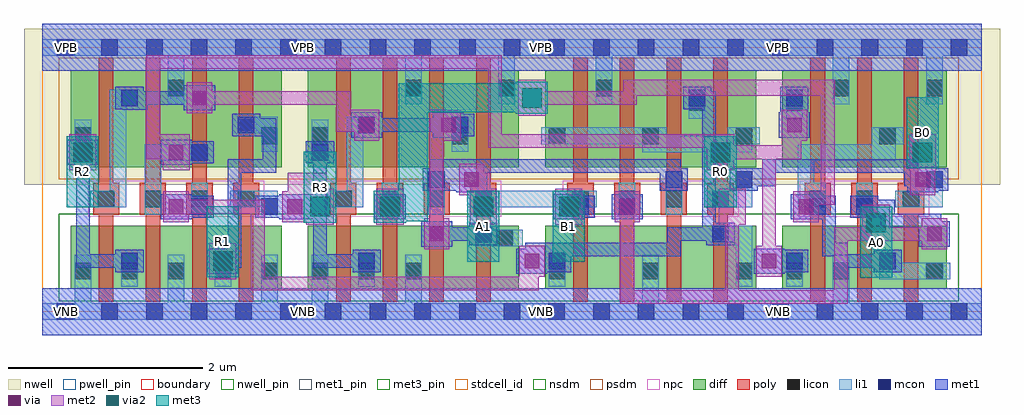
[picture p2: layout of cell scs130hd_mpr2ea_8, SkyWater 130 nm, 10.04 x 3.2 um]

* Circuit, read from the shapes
.subckt scs130hd_mpr2ea_8 A0 A1 B0 B1 R0 R1 R2 R3 VNB VPB vgnd vpwr
XM1 R2 n1 vgnd VNB sky130_fd_pr__nfet_01v8 w=0.65 l=0.15
XM2 vgnd R0 R2 VNB sky130_fd_pr__nfet_01v8 w=0.65 l=0.15
XM3 R1 n2 vgnd VNB sky130_fd_pr__nfet_01v8 w=0.65 l=0.15
XM4 vgnd R3 R1 VNB sky130_fd_pr__nfet_01v8 w=0.65 l=0.15
XM5 R3 n1 vgnd VNB sky130_fd_pr__nfet_01v8 w=0.65 l=0.15
XM6 vgnd n3 R3 VNB sky130_fd_pr__nfet_01v8 w=0.65 l=0.15
XM7 n4 A1 vgnd VNB sky130_fd_pr__nfet_01v8 w=0.65 l=0.15
XM8 n1 B1 n4 VNB sky130_fd_pr__nfet_01v8 w=0.65 l=0.15
XM9 n5 B1 n2 VNB sky130_fd_pr__nfet_01v8 w=0.65 l=0.15
XM10 vgnd A0 n5 VNB sky130_fd_pr__nfet_01v8 w=0.65 l=0.15
XM11 n6 A1 vgnd VNB sky130_fd_pr__nfet_01v8 w=0.65 l=0.15
XM12 n2 B0 n6 VNB sky130_fd_pr__nfet_01v8 w=0.65 l=0.15
XM13 vgnd n3 R0 VNB sky130_fd_pr__nfet_01v8 w=0.65 l=0.15
XM14 n7 A0 vgnd VNB sky130_fd_pr__nfet_01v8 w=0.65 l=0.15
XM15 n3 B0 n7 VNB sky130_fd_pr__nfet_01v8 w=0.65 l=0.15
XM16 n8 n1 R2 VPB sky130_fd_pr__pfet_01v8 w=1 l=0.15
XM17 vpwr R0 n8 VPB sky130_fd_pr__pfet_01v8 w=1 l=0.15
XM18 n9 n2 vpwr VPB sky130_fd_pr__pfet_01v8 w=1 l=0.15
XM19 R1 R3 n9 VPB sky130_fd_pr__pfet_01v8 w=1 l=0.15
XM20 n10 n1 R3 VPB sky130_fd_pr__pfet_01v8 w=1 l=0.15
XM21 vpwr n3 n10 VPB sky130_fd_pr__pfet_01v8 w=1 l=0.15
XM22 n1 A1 vpwr VPB sky130_fd_pr__pfet_01v8 w=1 l=0.15
XM23 vpwr B1 n1 VPB sky130_fd_pr__pfet_01v8 w=1 l=0.15
XM24 vpwr B1 n11 VPB sky130_fd_pr__pfet_01v8 w=1 l=0.15
XM25 n11 A0 vpwr VPB sky130_fd_pr__pfet_01v8 w=1 l=0.15
XM26 n2 A1 n11 VPB sky130_fd_pr__pfet_01v8 w=1 l=0.15
XM27 n11 B0 n2 VPB sky130_fd_pr__pfet_01v8 w=1 l=0.15
XM28 vpwr n3 R0 VPB sky130_fd_pr__pfet_01v8 w=1 l=0.15
XM29 n3 A0 vpwr VPB sky130_fd_pr__pfet_01v8 w=1 l=0.15
XM30 vpwr B0 n3 VPB sky130_fd_pr__pfet_01v8 w=1 l=0.15
.ends

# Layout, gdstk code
import gdstk
lib = gdstk.Library(unit=1e-6, precision=1e-09)
def R(c, l, rs):  # rectangles x0, y0, x1, y1
    for r in rs: c.add(gdstk.rectangle(r[:2], r[2:], *l))
nwell_pin = (64, 16)
nwell = (64, 20)
diff = (65, 20)
poly = (66, 20)
licon = (66, 44)
li1 = (67, 20)
mcon = (67, 44)
met1_pin = (68, 16)
met1 = (68, 20)
via = (68, 44)
met2 = (69, 20)
via2 = (69, 44)
met3_pin = (70, 16)
met3 = (70, 20)
stdcell_id = (81, 4)
nsdm = (93, 44)
psdm = (94, 20)
npc = (95, 20)
pwell_pin = (122, 16)
boundary = (235, 4)

scs130hd_mpr2ea_8 = lib.new_cell('scs130hd_mpr2ea_8')
R(scs130hd_mpr2ea_8, nwell_pin, [(0.165,2.635,0.335,2.805), (0.165,2.635,0.335,2.805), (2.605,2.635,2.775,2.805), (2.605,2.635,2.775,2.805), (5.045,2.635,5.215,2.805), (5.045,2.635,5.215,2.805), (7.485,2.635,7.655,2.805), (7.485,2.635,7.655,2.805)])
R(scs130hd_mpr2ea_8, nwell, [(-0.19,1.305,9.85,2.91), (-0.19,1.305,9.85,2.91)])
R(scs130hd_mpr2ea_8, diff, [(0.29,0.235,2.46,0.885), (0.29,0.235,2.46,0.885), (2.73,0.235,4.9,0.885), (2.73,0.235,4.9,0.885), (5.17,0.235,7.34,0.885), (5.17,0.235,7.34,0.885), (7.61,0.235,9.3,0.885), (7.61,0.235,9.3,0.885), (0.29,1.485,2.46,2.485), (0.29,1.485,2.46,2.485), (2.73,1.485,4.9,2.485), (2.73,1.485,4.9,2.485), (5.17,1.485,7.34,2.485), (5.17,1.485,7.34,2.485), (7.61,1.485,9.3,2.485), (7.61,1.485,9.3,2.485)])
R(scs130hd_mpr2ea_8, poly, [(0.58,0.105,0.73,0.995), (0.58,0.105,0.73,0.995), (1.06,0.105,1.21,0.995), (1.06,0.105,1.21,0.995), (1.54,0.105,1.69,0.995), (1.54,0.105,1.69,0.995), (2.02,0.105,2.17,0.995), (2.02,0.105,2.17,0.995), (3.02,0.105,3.17,0.995), (3.02,0.105,3.17,0.995), (3.5,0.105,3.65,0.995), (3.5,0.105,3.65,0.995), (3.98,0.105,4.13,0.995), (3.98,0.105,4.13,0.995), (4.46,0.105,4.61,0.995), (4.46,0.105,4.61,0.995), (5.46,0.105,5.61,0.995), (5.46,0.105,5.61,0.995), (5.94,0.105,6.09,0.995), (5.94,0.105,6.09,0.995), (6.42,0.105,6.57,0.995), (6.42,0.105,6.57,0.995), (6.9,0.105,7.05,0.995), (6.9,0.105,7.05,0.995), (7.9,0.105,8.05,0.995), (7.9,0.105,8.05,0.995), (8.38,0.105,8.53,0.995), (8.38,0.105,8.53,0.995), (8.86,0.105,9.01,0.995), (8.86,0.105,9.01,0.995), (0.52,0.995,0.79,1.325), (0.52,0.995,0.79,1.325), (1,0.995,1.27,1.325), (1,0.995,1.27,1.325), (1.48,0.995,1.75,1.325), (1.48,0.995,1.75,1.325), (1.96,0.995,2.23,1.325), (1.96,0.995,2.23,1.325), (2.96,0.995,3.23,1.325), (2.96,0.995,3.23,1.325), (3.44,0.995,3.71,1.325), (3.44,0.995,3.71,1.325), (3.92,0.995,4.19,1.325), (3.92,0.995,4.19,1.325), (4.4,0.995,4.67,1.325), (4.4,0.995,4.67,1.325), (5.4,0.995,5.67,1.325), (5.4,0.995,5.67,1.325), (5.88,0.995,6.15,1.325), (5.88,0.995,6.15,1.325), (6.36,0.995,6.63,1.325), (6.36,0.995,6.63,1.325), (6.84,0.995,7.11,1.325), (6.84,0.995,7.11,1.325), (7.84,0.995,8.11,1.325), (7.84,0.995,8.11,1.325), (8.32,0.995,8.59,1.325), (8.32,0.995,8.59,1.325), (8.8,0.995,9.07,1.325), (8.8,0.995,9.07,1.325), (0.58,1.325,0.73,2.615), (0.58,1.325,0.73,2.615), (1.06,1.325,1.21,2.615), (1.06,1.325,1.21,2.615), (1.54,1.325,1.69,2.615), (1.54,1.325,1.69,2.615), (2.02,1.325,2.17,2.615), (2.02,1.325,2.17,2.615), (3.02,1.325,3.17,2.615), (3.02,1.325,3.17,2.615), (3.5,1.325,3.65,2.615), (3.5,1.325,3.65,2.615), (3.98,1.325,4.13,2.615), (3.98,1.325,4.13,2.615), (4.46,1.325,4.61,2.615), (4.46,1.325,4.61,2.615), (5.46,1.325,5.61,2.615), (5.46,1.325,5.61,2.615), (5.94,1.325,6.09,2.615), (5.94,1.325,6.09,2.615), (6.42,1.325,6.57,2.615), (6.42,1.325,6.57,2.615), (6.9,1.325,7.05,2.615), (6.9,1.325,7.05,2.615), (7.9,1.325,8.05,2.615), (7.9,1.325,8.05,2.615), (8.38,1.325,8.53,2.615), (8.38,1.325,8.53,2.615), (8.86,1.325,9.01,2.615), (8.86,1.325,9.01,2.615)])
R(scs130hd_mpr2ea_8, licon, [(0.33,0.335,0.5,0.505), (0.33,0.335,0.5,0.505), (0.81,0.335,0.98,0.505), (0.81,0.335,0.98,0.505), (1.29,0.335,1.46,0.505), (1.29,0.335,1.46,0.505), (1.77,0.335,1.94,0.505), (1.77,0.335,1.94,0.505), (2.25,0.335,2.42,0.505), (2.25,0.335,2.42,0.505), (2.77,0.335,2.94,0.505), (2.77,0.335,2.94,0.505), (3.25,0.335,3.42,0.505), (3.25,0.335,3.42,0.505), (3.73,0.335,3.9,0.505), (3.73,0.335,3.9,0.505), (5.21,0.335,5.38,0.505), (5.21,0.335,5.38,0.505), (6.17,0.335,6.34,0.505), (6.17,0.335,6.34,0.505), (7.13,0.335,7.3,0.505), (7.13,0.335,7.3,0.505), (7.65,0.335,7.82,0.505), (7.65,0.335,7.82,0.505), (8.13,0.335,8.3,0.505), (8.13,0.335,8.3,0.505), (9.09,0.335,9.26,0.505), (9.09,0.335,9.26,0.505), (4.67,0.675,4.84,0.845), (4.67,0.675,4.84,0.845), (0.57,1.075,0.74,1.245), (0.57,1.075,0.74,1.245), (1.05,1.075,1.22,1.245), (1.05,1.075,1.22,1.245), (1.53,1.075,1.7,1.245), (1.53,1.075,1.7,1.245), (2.01,1.075,2.18,1.245), (2.01,1.075,2.18,1.245), (3.01,1.075,3.18,1.245), (3.01,1.075,3.18,1.245), (3.49,1.075,3.66,1.245), (3.49,1.075,3.66,1.245), (3.97,1.075,4.14,1.245), (3.97,1.075,4.14,1.245), (4.45,1.075,4.62,1.245), (4.45,1.075,4.62,1.245), (5.45,1.075,5.62,1.245), (5.45,1.075,5.62,1.245), (5.93,1.075,6.1,1.245), (5.93,1.075,6.1,1.245), (6.41,1.075,6.58,1.245), (6.41,1.075,6.58,1.245), (6.89,1.075,7.06,1.245), (6.89,1.075,7.06,1.245), (7.89,1.075,8.06,1.245), (7.89,1.075,8.06,1.245), (8.37,1.075,8.54,1.245), (8.37,1.075,8.54,1.245), (8.85,1.075,9.02,1.245), (8.85,1.075,9.02,1.245), (0.33,1.725,0.5,1.895), (0.33,1.725,0.5,1.895), (2.25,1.725,2.42,1.895), (2.25,1.725,2.42,1.895), (2.77,1.725,2.94,1.895), (2.77,1.725,2.94,1.895), (4.21,1.725,4.38,1.895), (4.21,1.725,4.38,1.895), (5.21,1.725,5.38,1.895), (5.21,1.725,5.38,1.895), (6.17,1.725,6.34,1.895), (6.17,1.725,6.34,1.895), (7.13,1.725,7.3,1.895), (7.13,1.725,7.3,1.895), (8.61,1.725,8.78,1.895), (8.61,1.725,8.78,1.895), (6.65,2.065,6.82,2.235), (6.65,2.065,6.82,2.235), (7.65,2.065,7.82,2.235), (7.65,2.065,7.82,2.235), (1.29,2.215,1.46,2.385), (1.29,2.215,1.46,2.385), (3.73,2.215,3.9,2.385), (3.73,2.215,3.9,2.385), (4.69,2.215,4.86,2.385), (4.69,2.215,4.86,2.385), (5.69,2.215,5.86,2.385), (5.69,2.215,5.86,2.385), (8.13,2.215,8.3,2.385), (8.13,2.215,8.3,2.385), (9.09,2.215,9.26,2.385), (9.09,2.215,9.26,2.385)])
R(scs130hd_mpr2ea_8, li1, [(0,-0.085,9.66,0.085), (0,-0.085,9.66,0.085), (0.33,0.085,0.5,0.585), (0.33,0.085,0.5,0.585), (1.29,0.085,1.46,0.585), (1.29,0.085,1.46,0.585), (2.25,0.085,2.42,0.585), (2.25,0.085,2.42,0.585), (2.77,0.085,2.94,0.585), (2.77,0.085,2.94,0.585), (3.73,0.085,3.9,0.585), (3.73,0.085,3.9,0.585), (6.17,0.085,6.34,0.585), (6.17,0.085,6.34,0.585), (8.13,0.085,8.3,0.585), (8.13,0.085,8.3,0.585), (0.81,0.255,0.98,0.605), (0.81,0.255,0.98,0.605), (1.77,0.255,1.94,0.605), (1.77,0.255,1.94,0.605), (3.25,0.255,3.42,0.605), (3.25,0.255,3.42,0.605), (5.21,0.255,5.38,0.605), (5.21,0.255,5.38,0.605), (7.13,0.255,7.3,0.715), (7.13,0.255,7.3,0.715), (7.65,0.255,7.82,0.605), (7.65,0.255,7.82,0.605), (8.61,0.335,9.34,0.505), (8.61,0.335,9.34,0.505), (8.61,0.505,8.78,0.605), (8.61,0.505,8.78,0.605), (4.45,0.675,4.94,0.845), (4.45,0.675,4.94,0.845), (6.89,0.715,7.3,0.885), (6.89,0.715,7.3,0.885), (4.45,0.845,4.62,0.885), (4.45,0.845,4.62,0.885), (1.05,0.995,1.22,1.555), (1.05,0.995,1.22,1.555), (1.53,0.995,1.7,1.325), (1.53,0.995,1.7,1.325), (2.25,0.995,2.42,1.075), (2.25,0.995,2.42,1.075), (3.49,0.995,3.66,1.325), (3.49,0.995,3.66,1.325), (3.97,0.995,4.14,1.445), (3.97,0.995,4.14,1.445), (5.45,0.995,5.62,1.075), (5.45,0.995,5.62,1.075), (5.93,0.995,6.1,1.325), (5.93,0.995,6.1,1.325), (6.41,0.995,6.58,1.445), (6.41,0.995,6.58,1.445), (7.89,0.995,8.06,1.075), (7.89,0.995,8.06,1.075), (8.37,0.995,8.54,1.325), (8.37,0.995,8.54,1.325), (0.49,1.075,0.86,1.245), (0.49,1.075,0.86,1.245), (1.93,1.075,2.42,1.245), (1.93,1.075,2.42,1.245), (2.93,1.075,3.3,1.245), (2.93,1.075,3.3,1.245), (4.37,1.075,5.7,1.245), (4.37,1.075,5.7,1.245), (6.81,1.075,7.3,1.245), (6.81,1.075,7.3,1.245), (7.77,1.075,8.06,1.325), (7.77,1.075,8.06,1.325), (8.77,1.075,9.26,1.245), (8.77,1.075,9.26,1.245), (0.69,1.245,0.86,2.115), (0.69,1.245,0.86,2.115), (3.13,1.245,3.3,1.835), (3.13,1.245,3.3,1.835), (7.13,1.245,7.3,1.445), (7.13,1.245,7.3,1.445), (9.09,1.245,9.26,1.445), (9.09,1.245,9.26,1.445), (7.77,1.325,7.94,1.555), (7.77,1.325,7.94,1.555), (0.33,1.555,0.5,1.975), (0.33,1.555,0.5,1.975), (1.05,1.555,1.7,1.725), (1.05,1.555,1.7,1.725), (2.77,1.555,2.94,1.975), (2.77,1.555,2.94,1.975), (7.77,1.555,8.78,1.725), (7.77,1.555,8.78,1.725), (6.17,1.64,7.3,1.725), (6.17,1.64,7.3,1.725), (2.25,1.645,2.42,1.835), (2.25,1.645,2.42,1.835), (4.21,1.645,4.38,2.005), (4.21,1.645,4.38,2.005), (5.13,1.725,7.38,1.81), (5.13,1.725,7.38,1.81), (8.53,1.725,8.86,1.895), (8.53,1.725,8.86,1.895), (5.13,1.81,6.42,1.895), (5.13,1.81,6.42,1.895), (7.05,1.81,7.38,1.895), (7.05,1.81,7.38,1.895), (2.01,1.835,2.42,2.005), (2.01,1.835,2.42,2.005), (3.13,1.835,3.42,2.005), (3.13,1.835,3.42,2.005), (6.65,1.985,6.82,2.315), (6.65,1.985,6.82,2.315), (7.65,1.985,7.82,2.315), (7.65,1.985,7.82,2.315), (0.69,2.115,0.98,2.285), (0.69,2.115,0.98,2.285), (1.29,2.135,1.46,2.635), (1.29,2.135,1.46,2.635), (3.73,2.135,3.9,2.635), (3.73,2.135,3.9,2.635), (4.69,2.135,4.86,2.635), (4.69,2.135,4.86,2.635), (5.69,2.135,5.86,2.635), (5.69,2.135,5.86,2.635), (8.13,2.135,8.3,2.635), (8.13,2.135,8.3,2.635), (9.09,2.135,9.26,2.635), (9.09,2.135,9.26,2.635), (0,2.635,9.66,2.805), (0,2.635,9.66,2.805)])
R(scs130hd_mpr2ea_8, mcon, [(0.145,-0.085,0.315,0.085), (0.145,-0.085,0.315,0.085), (0.605,-0.085,0.775,0.085), (0.605,-0.085,0.775,0.085), (1.065,-0.085,1.235,0.085), (1.065,-0.085,1.235,0.085), (1.525,-0.085,1.695,0.085), (1.525,-0.085,1.695,0.085), (1.985,-0.085,2.155,0.085), (1.985,-0.085,2.155,0.085), (2.445,-0.085,2.615,0.085), (2.445,-0.085,2.615,0.085), (2.905,-0.085,3.075,0.085), (2.905,-0.085,3.075,0.085), (3.365,-0.085,3.535,0.085), (3.365,-0.085,3.535,0.085), (3.825,-0.085,3.995,0.085), (3.825,-0.085,3.995,0.085), (4.285,-0.085,4.455,0.085), (4.285,-0.085,4.455,0.085), (4.745,-0.085,4.915,0.085), (4.745,-0.085,4.915,0.085), (5.205,-0.085,5.375,0.085), (5.205,-0.085,5.375,0.085), (5.665,-0.085,5.835,0.085), (5.665,-0.085,5.835,0.085), (6.125,-0.085,6.295,0.085), (6.125,-0.085,6.295,0.085), (6.585,-0.085,6.755,0.085), (6.585,-0.085,6.755,0.085), (7.045,-0.085,7.215,0.085), (7.045,-0.085,7.215,0.085), (7.505,-0.085,7.675,0.085), (7.505,-0.085,7.675,0.085), (7.965,-0.085,8.135,0.085), (7.965,-0.085,8.135,0.085), (8.425,-0.085,8.595,0.085), (8.425,-0.085,8.595,0.085), (8.885,-0.085,9.055,0.085), (8.885,-0.085,9.055,0.085), (9.345,-0.085,9.515,0.085), (9.345,-0.085,9.515,0.085), (0.81,0.435,0.98,0.605), (0.81,0.435,0.98,0.605), (1.77,0.435,1.94,0.605), (1.77,0.435,1.94,0.605), (3.25,0.435,3.42,0.605), (3.25,0.435,3.42,0.605), (5.21,0.435,5.38,0.605), (5.21,0.435,5.38,0.605), (7.65,0.435,7.82,0.605), (7.65,0.435,7.82,0.605), (8.61,0.435,8.78,0.605), (8.61,0.435,8.78,0.605), (4.45,0.715,4.62,0.885), (4.45,0.715,4.62,0.885), (6.89,0.715,7.06,0.885), (6.89,0.715,7.06,0.885), (1.53,0.995,1.7,1.165), (1.53,0.995,1.7,1.165), (2.25,0.995,2.42,1.165), (2.25,0.995,2.42,1.165), (3.49,0.995,3.66,1.165), (3.49,0.995,3.66,1.165), (5.45,0.995,5.62,1.165), (5.45,0.995,5.62,1.165), (5.93,0.995,6.1,1.165), (5.93,0.995,6.1,1.165), (7.89,0.995,8.06,1.165), (7.89,0.995,8.06,1.165), (8.37,0.995,8.54,1.165), (8.37,0.995,8.54,1.165), (3.97,1.275,4.14,1.445), (3.97,1.275,4.14,1.445), (6.41,1.275,6.58,1.445), (6.41,1.275,6.58,1.445), (7.13,1.275,7.3,1.445), (7.13,1.275,7.3,1.445), (9.09,1.275,9.26,1.445), (9.09,1.275,9.26,1.445), (0.33,1.555,0.5,1.725), (0.33,1.555,0.5,1.725), (1.53,1.555,1.7,1.725), (1.53,1.555,1.7,1.725), (2.77,1.555,2.94,1.725), (2.77,1.555,2.94,1.725), (2.01,1.835,2.18,2.005), (2.01,1.835,2.18,2.005), (3.25,1.835,3.42,2.005), (3.25,1.835,3.42,2.005), (4.21,1.835,4.38,2.005), (4.21,1.835,4.38,2.005), (0.81,2.115,0.98,2.285), (0.81,2.115,0.98,2.285), (6.65,2.115,6.82,2.285), (6.65,2.115,6.82,2.285), (7.65,2.115,7.82,2.285), (7.65,2.115,7.82,2.285), (0.145,2.635,0.315,2.805), (0.145,2.635,0.315,2.805), (0.605,2.635,0.775,2.805), (0.605,2.635,0.775,2.805), (1.065,2.635,1.235,2.805), (1.065,2.635,1.235,2.805), (1.525,2.635,1.695,2.805), (1.525,2.635,1.695,2.805), (1.985,2.635,2.155,2.805), (1.985,2.635,2.155,2.805), (2.445,2.635,2.615,2.805), (2.445,2.635,2.615,2.805), (2.905,2.635,3.075,2.805), (2.905,2.635,3.075,2.805), (3.365,2.635,3.535,2.805), (3.365,2.635,3.535,2.805), (3.825,2.635,3.995,2.805), (3.825,2.635,3.995,2.805), (4.285,2.635,4.455,2.805), (4.285,2.635,4.455,2.805), (4.745,2.635,4.915,2.805), (4.745,2.635,4.915,2.805), (5.205,2.635,5.375,2.805), (5.205,2.635,5.375,2.805), (5.665,2.635,5.835,2.805), (5.665,2.635,5.835,2.805), (6.125,2.635,6.295,2.805), (6.125,2.635,6.295,2.805), (6.585,2.635,6.755,2.805), (6.585,2.635,6.755,2.805), (7.045,2.635,7.215,2.805), (7.045,2.635,7.215,2.805), (7.505,2.635,7.675,2.805), (7.505,2.635,7.675,2.805), (7.965,2.635,8.135,2.805), (7.965,2.635,8.135,2.805), (8.425,2.635,8.595,2.805), (8.425,2.635,8.595,2.805), (8.885,2.635,9.055,2.805), (8.885,2.635,9.055,2.805), (9.345,2.635,9.515,2.805), (9.345,2.635,9.515,2.805)])
R(scs130hd_mpr2ea_8, met1_pin, [(0.155,-0.085,0.325,0.085), (0.155,-0.085,0.325,0.085), (0.155,2.635,0.325,2.805), (0.155,2.635,0.325,2.805)])
R(scs130hd_mpr2ea_8, met1, [(0,-0.24,9.66,0.24), (0,-0.24,9.66,0.24), (1.695,0.39,2.015,0.45), (1.695,0.39,2.015,0.45), (4.875,0.39,5.195,0.405), (4.875,0.39,5.195,0.405), (7.315,0.39,7.635,0.405), (7.315,0.39,7.635,0.405), (0.75,0.405,1.04,0.45), (0.75,0.405,1.04,0.45), (3.19,0.405,3.48,0.45), (3.19,0.405,3.48,0.45), (4.875,0.405,5.44,0.57), (4.875,0.405,5.44,0.57), (7.315,0.405,7.88,0.635), (7.315,0.405,7.88,0.635), (8.55,0.405,8.84,0.45), (8.55,0.405,8.84,0.45), (0.345,0.45,1.04,0.59), (0.345,0.45,1.04,0.59), (1.695,0.45,2.045,0.65), (1.695,0.45,2.045,0.65), (2.785,0.45,3.48,0.59), (2.785,0.45,3.48,0.59), (8.145,0.45,8.84,0.57), (8.145,0.45,8.84,0.57), (4.875,0.57,6.565,0.65), (4.875,0.57,6.565,0.65), (8.02,0.57,8.84,0.59), (8.02,0.57,8.84,0.59), (0.345,0.59,0.485,1.51), (0.345,0.59,0.485,1.51), (0.75,0.59,1.04,0.635), (0.75,0.59,1.04,0.635), (2.785,0.59,2.925,0.95), (2.785,0.59,2.925,0.95), (3.19,0.59,3.48,0.635), (3.19,0.59,3.48,0.635), (8.02,0.59,8.285,0.71), (8.02,0.59,8.285,0.71), (8.55,0.59,8.84,0.635), (8.55,0.59,8.84,0.635), (7.315,0.635,7.635,0.65), (7.315,0.635,7.635,0.65), (1.905,0.65,2.045,1.43), (1.905,0.65,2.045,1.43), (4.965,0.65,6.565,0.71), (4.965,0.65,6.565,0.71), (3.895,0.67,4.215,0.73), (3.895,0.67,4.215,0.73), (9.015,0.67,9.335,0.87), (9.015,0.67,9.335,0.87), (4.39,0.685,4.68,0.73), (4.39,0.685,4.68,0.73), (6.83,0.685,7.12,0.73), (6.83,0.685,7.12,0.73), (6.425,0.71,6.565,0.73), (6.425,0.71,6.565,0.73), (8.02,0.71,8.16,0.95), (8.02,0.71,8.16,0.95), (3.895,0.73,4.68,0.87), (3.895,0.73,4.68,0.87), (6.425,0.73,7.12,0.87), (6.425,0.73,7.12,0.87), (3.895,0.87,4.215,0.93), (3.895,0.87,4.215,0.93), (4.39,0.87,4.68,0.915), (4.39,0.87,4.68,0.915), (6.785,0.87,7.12,0.915), (6.785,0.87,7.12,0.915), (8.625,0.87,9.335,0.93), (8.625,0.87,9.335,0.93), (6.785,0.915,6.925,2.085), (6.785,0.915,6.925,2.085), (8.625,0.93,9.245,0.965), (8.625,0.93,9.245,0.965), (1.215,0.95,1.535,0.965), (1.215,0.95,1.535,0.965), (2.435,0.95,2.925,0.965), (2.435,0.95,2.925,0.965), (3.415,0.95,3.735,1.21), (3.415,0.95,3.735,1.21), (5.255,0.95,5.575,0.965), (5.255,0.95,5.575,0.965), (5.855,0.95,6.175,1.21), (5.855,0.95,6.175,1.21), (7.695,0.95,8.16,1.195), (7.695,0.95,8.16,1.195), (1.215,0.965,1.76,1.195), (1.215,0.965,1.76,1.195), (2.19,0.965,2.925,1.195), (2.19,0.965,2.925,1.195), (5.255,0.965,5.68,1.195), (5.255,0.965,5.68,1.195), (8.31,0.965,9.245,1.01), (8.31,0.965,9.245,1.01), (8.31,1.01,8.765,1.15), (8.31,1.01,8.765,1.15), (8.31,1.15,8.6,1.195), (8.31,1.15,8.6,1.195), (1.215,1.195,1.535,1.21), (1.215,1.195,1.535,1.21), (2.435,1.195,2.925,1.21), (2.435,1.195,2.925,1.21), (5.255,1.195,5.575,1.21), (5.255,1.195,5.575,1.21), (7.695,1.195,8.015,1.21), (7.695,1.195,8.015,1.21), (2.785,1.21,2.925,1.525), (2.785,1.21,2.925,1.525), (4.255,1.23,4.575,1.245), (4.255,1.23,4.575,1.245), (8.895,1.23,9.215,1.245), (8.895,1.23,9.215,1.245), (3.91,1.245,4.575,1.43), (3.91,1.245,4.575,1.43), (6.35,1.245,6.64,1.43), (6.35,1.245,6.64,1.43), (7.07,1.245,7.36,1.29), (7.07,1.245,7.36,1.29), (8.895,1.245,9.32,1.29), (8.895,1.245,9.32,1.29), (7.07,1.29,7.545,1.43), (7.07,1.29,7.545,1.43), (8.865,1.29,9.32,1.43), (8.865,1.29,9.32,1.43), (1.905,1.43,2.405,1.57), (1.905,1.43,2.405,1.57), (3.91,1.43,6.64,1.475), (3.91,1.43,6.64,1.475), (7.07,1.43,9.32,1.475), (7.07,1.43,9.32,1.475), (3.985,1.475,6.565,1.57), (3.985,1.475,6.565,1.57), (7.405,1.475,9.215,1.49), (7.405,1.475,9.215,1.49), (7.405,1.49,9.005,1.57), (7.405,1.49,9.005,1.57), (0.255,1.51,0.575,1.77), (0.255,1.51,0.575,1.77), (1.215,1.51,1.535,1.525), (1.215,1.51,1.535,1.525), (1.215,1.525,1.76,1.755), (1.215,1.525,1.76,1.755), (2.71,1.525,3,1.755), (2.71,1.525,3,1.755), (2.265,1.57,2.405,1.805), (2.265,1.57,2.405,1.805), (1.215,1.755,1.535,1.77), (1.215,1.755,1.535,1.77), (3.175,1.79,3.495,1.85), (3.175,1.79,3.495,1.85), (4.015,1.79,4.335,1.805), (4.015,1.79,4.335,1.805), (7.575,1.79,7.895,2.05), (7.575,1.79,7.895,2.05), (1.95,1.805,2.405,1.99), (1.95,1.805,2.405,1.99), (4.015,1.805,4.44,1.85), (4.015,1.805,4.44,1.85), (3.175,1.85,4.44,1.99), (3.175,1.85,4.44,1.99), (1.95,1.99,2.24,2.035), (1.95,1.99,2.24,2.035), (3.175,1.99,3.495,2.05), (3.175,1.99,3.495,2.05), (4.015,1.99,4.44,2.035), (4.015,1.99,4.44,2.035), (4.015,2.035,4.335,2.05), (4.015,2.035,4.335,2.05), (7.59,2.05,7.88,2.315), (7.59,2.05,7.88,2.315), (1.455,2.07,1.775,2.13), (1.455,2.07,1.775,2.13), (0.825,2.08,1.085,2.085), (0.825,2.08,1.085,2.085), (0.75,2.085,1.085,2.13), (0.75,2.085,1.085,2.13), (6.59,2.085,6.925,2.27), (6.59,2.085,6.925,2.27), (0.75,2.13,1.775,2.27), (0.75,2.13,1.775,2.27), (0.75,2.27,1.04,2.315), (0.75,2.27,1.04,2.315), (1.455,2.27,1.775,2.33), (1.455,2.27,1.775,2.33), (6.59,2.27,6.88,2.315), (6.59,2.27,6.88,2.315), (0,2.48,9.66,2.96), (0,2.48,9.66,2.96)])
R(scs130hd_mpr2ea_8, via, [(1.78,0.445,1.93,0.595), (1.78,0.445,1.93,0.595), (4.96,0.445,5.11,0.595), (4.96,0.445,5.11,0.595), (7.4,0.445,7.55,0.595), (7.4,0.445,7.55,0.595), (3.98,0.725,4.13,0.875), (3.98,0.725,4.13,0.875), (9.1,0.725,9.25,0.875), (9.1,0.725,9.25,0.875), (1.3,1.005,1.45,1.155), (1.3,1.005,1.45,1.155), (2.52,1.005,2.67,1.155), (2.52,1.005,2.67,1.155), (3.5,1.005,3.65,1.155), (3.5,1.005,3.65,1.155), (5.34,1.005,5.49,1.155), (5.34,1.005,5.49,1.155), (5.94,1.005,6.09,1.155), (5.94,1.005,6.09,1.155), (7.78,1.005,7.93,1.155), (7.78,1.005,7.93,1.155), (4.34,1.285,4.49,1.435), (4.34,1.285,4.49,1.435), (8.98,1.285,9.13,1.435), (8.98,1.285,9.13,1.435), (0.34,1.565,0.49,1.715), (0.34,1.565,0.49,1.715), (1.3,1.565,1.45,1.715), (1.3,1.565,1.45,1.715), (3.26,1.845,3.41,1.995), (3.26,1.845,3.41,1.995), (4.1,1.845,4.25,1.995), (4.1,1.845,4.25,1.995), (7.66,1.845,7.81,1.995), (7.66,1.845,7.81,1.995), (1.54,2.125,1.69,2.275), (1.54,2.125,1.69,2.275)])
R(scs130hd_mpr2ea_8, met2, [(5.945,0.08,8.285,0.22), (5.945,0.08,8.285,0.22), (2.145,0.22,5.105,0.36), (2.145,0.22,5.105,0.36), (5.945,0.22,6.085,0.92), (5.945,0.22,6.085,0.92), (7.025,0.22,7.165,0.895), (7.025,0.22,7.165,0.895), (8.145,0.22,8.285,0.73), (8.145,0.22,8.285,0.73), (1.715,0.335,1.995,0.705), (1.715,0.335,1.995,0.705), (2.145,0.36,2.285,1.01), (2.145,0.36,2.285,1.01), (4.905,0.36,5.165,0.68), (4.905,0.36,5.165,0.68), (7.345,0.36,7.605,0.68), (7.345,0.36,7.605,0.68), (3.925,0.64,4.185,0.96), (3.925,0.64,4.185,0.96), (9.045,0.64,9.305,0.73), (9.045,0.64,9.305,0.73), (7.405,0.68,7.545,1.57), (7.405,0.68,7.545,1.57), (8.145,0.73,9.305,0.87), (8.145,0.73,9.305,0.87), (8.435,0.87,8.715,1.1), (8.435,0.87,8.715,1.1), (9.045,0.87,9.305,0.96), (9.045,0.87,9.305,0.96), (2.715,0.895,2.995,0.92), (2.715,0.895,2.995,0.92), (3.435,0.895,3.715,1.265), (3.435,0.895,3.715,1.265), (4.395,0.895,4.675,1.2), (4.395,0.895,4.675,1.2), (5.275,0.895,5.555,1.265), (5.275,0.895,5.555,1.265), (6.955,0.895,7.235,1.265), (6.955,0.895,7.235,1.265), (1.245,0.92,1.505,1.01), (1.245,0.92,1.505,1.01), (2.465,0.92,2.995,1.24), (2.465,0.92,2.995,1.24), (5.885,0.92,6.145,1.24), (5.885,0.92,6.145,1.24), (7.725,0.92,7.985,1.1), (7.725,0.92,7.985,1.1), (3.985,0.96,4.125,1.76), (3.985,0.96,4.125,1.76), (1.245,1.01,2.285,1.15), (1.245,1.01,2.285,1.15), (7.725,1.1,8.15,1.24), (7.725,1.1,8.15,1.24), (1.245,1.15,1.505,1.24), (1.245,1.15,1.505,1.24), (4.285,1.2,4.675,1.265), (4.285,1.2,4.675,1.265), (8.925,1.2,9.185,1.455), (8.925,1.2,9.185,1.455), (2.525,1.24,2.995,1.265), (2.525,1.24,2.995,1.265), (8.005,1.24,8.15,2.22), (8.005,1.24,8.15,2.22), (2.525,1.265,2.925,1.43), (2.525,1.265,2.925,1.43), (4.285,1.265,4.605,1.43), (4.285,1.265,4.605,1.43), (4.285,1.43,4.545,1.52), (4.285,1.43,4.545,1.52), (0.275,1.455,0.555,1.825), (0.275,1.455,0.555,1.825), (1.235,1.455,1.515,1.57), (1.235,1.455,1.515,1.57), (6.835,1.455,7.115,1.57), (6.835,1.455,7.115,1.57), (8.915,1.455,9.195,1.825), (8.915,1.455,9.195,1.825), (1.065,1.57,1.515,1.825), (1.065,1.57,1.515,1.825), (6.835,1.57,7.805,1.685), (6.835,1.57,7.805,1.685), (4.585,1.685,7.805,1.71), (4.585,1.685,7.805,1.71), (4.585,1.71,7.115,1.825), (4.585,1.71,7.115,1.825), (7.605,1.71,7.805,1.76), (7.605,1.71,7.805,1.76), (3.205,1.76,3.465,1.85), (3.205,1.76,3.465,1.85), (3.985,1.76,4.305,2.08), (3.985,1.76,4.305,2.08), (7.605,1.76,7.865,2.08), (7.605,1.76,7.865,2.08), (1.065,1.825,1.205,2.5), (1.065,1.825,1.205,2.5), (4.585,1.825,4.725,2.5), (4.585,1.825,4.725,2.5), (3.025,1.85,3.465,2.08), (3.025,1.85,3.465,2.08), (4.895,2.015,5.175,2.13), (4.895,2.015,5.175,2.13), (1.485,2.04,1.745,2.13), (1.485,2.04,1.745,2.13), (3.025,2.08,3.165,2.13), (3.025,2.08,3.165,2.13), (1.485,2.13,3.165,2.27), (1.485,2.13,3.165,2.27), (4.895,2.13,6.115,2.22), (4.895,2.13,6.115,2.22), (4.895,2.22,8.15,2.27), (4.895,2.22,8.15,2.27), (1.485,2.27,1.745,2.36), (1.485,2.27,1.745,2.36), (4.895,2.27,5.175,2.385), (4.895,2.27,5.175,2.385), (5.975,2.27,8.15,2.385), (5.975,2.27,8.15,2.385), (1.065,2.5,4.725,2.64), (1.065,2.5,4.725,2.64)])
R(scs130hd_mpr2ea_8, via2, [(1.755,0.42,1.955,0.62), (1.755,0.42,1.955,0.62), (8.475,0.815,8.675,1.015), (8.475,0.815,8.675,1.015), (2.755,0.98,2.955,1.18), (2.755,0.98,2.955,1.18), (3.475,0.98,3.675,1.18), (3.475,0.98,3.675,1.18), (4.435,0.98,4.635,1.18), (4.435,0.98,4.635,1.18), (5.315,0.98,5.515,1.18), (5.315,0.98,5.515,1.18), (0.315,1.54,0.515,1.74), (0.315,1.54,0.515,1.74), (6.875,1.54,7.075,1.74), (6.875,1.54,7.075,1.74), (8.955,1.54,9.155,1.74), (8.955,1.54,9.155,1.74), (4.935,2.1,5.135,2.3), (4.935,2.1,5.135,2.3)])
R(scs130hd_mpr2ea_8, met3_pin, [(8.41,0.35,8.74,1.08), (8.41,0.35,8.74,1.08), (1.69,0.355,2.02,1.085), (1.69,0.355,2.02,1.085), (4.37,0.515,4.7,1.245), (4.37,0.515,4.7,1.245), (5.25,0.515,5.58,1.245), (5.25,0.515,5.58,1.245), (2.69,0.915,3.02,1.645), (2.69,0.915,3.02,1.645), (0.25,1.075,0.58,1.805), (0.25,1.075,0.58,1.805), (6.81,1.075,7.14,1.805), (6.81,1.075,7.14,1.805), (8.89,1.475,9.22,2.205), (8.89,1.475,9.22,2.205)])
R(scs130hd_mpr2ea_8, met3, [(8.41,0.35,8.74,1.08), (8.41,0.35,8.74,1.08), (1.69,0.355,2.02,1.085), (1.69,0.355,2.02,1.085), (4.37,0.515,4.7,1.245), (4.37,0.515,4.7,1.245), (5.25,0.515,5.58,1.245), (5.25,0.515,5.58,1.245), (2.69,0.915,3.02,1.645), (2.69,0.915,3.02,1.645), (3.41,0.915,3.74,0.93), (3.41,0.915,3.74,0.93), (3.41,0.93,3.965,1.245), (3.41,0.93,3.965,1.245), (0.25,1.075,0.58,1.805), (0.25,1.075,0.58,1.805), (6.81,1.075,7.14,1.805), (6.81,1.075,7.14,1.805), (3.665,1.245,3.965,2.05), (3.665,1.245,3.965,2.05), (8.89,1.475,9.22,2.205), (8.89,1.475,9.22,2.205), (4.87,2.035,5.2,2.05), (4.87,2.035,5.2,2.05), (3.665,2.05,5.2,2.35), (3.665,2.05,5.2,2.35), (4.87,2.35,5.2,2.365), (4.87,2.35,5.2,2.365)])
R(scs130hd_mpr2ea_8, stdcell_id, [(0,0,9.66,2.72), (0,0,9.66,2.72)])
R(scs130hd_mpr2ea_8, nsdm, [(0.165,0.11,9.425,1.01), (0.165,0.11,9.425,1.01)])
R(scs130hd_mpr2ea_8, psdm, [(0.165,1.36,9.425,2.61), (0.165,1.36,9.425,2.61)])
R(scs130hd_mpr2ea_8, npc, [(0.47,0.975,2.28,1.345), (0.47,0.975,2.28,1.345), (2.91,0.975,4.72,1.345), (2.91,0.975,4.72,1.345), (5.35,0.975,7.16,1.345), (5.35,0.975,7.16,1.345), (7.79,0.975,9.12,1.345), (7.79,0.975,9.12,1.345)])
R(scs130hd_mpr2ea_8, pwell_pin, [(0.165,-0.085,0.335,0.085), (0.165,-0.085,0.335,0.085), (2.605,-0.085,2.775,0.085), (2.605,-0.085,2.775,0.085), (5.045,-0.085,5.215,0.085), (5.045,-0.085,5.215,0.085), (7.485,-0.085,7.655,0.085), (7.485,-0.085,7.655,0.085)])
R(scs130hd_mpr2ea_8, boundary, [(0,0,9.66,2.72), (0,0,9.66,2.72)])
scs130hd_mpr2ea_8.add(gdstk.Label('VPB', (0.25,2.72), layer=64, texttype=5))
scs130hd_mpr2ea_8.add(gdstk.Label('VPB', (2.69,2.72), layer=64, texttype=5))
scs130hd_mpr2ea_8.add(gdstk.Label('VPB', (5.13,2.72), layer=64, texttype=5))
scs130hd_mpr2ea_8.add(gdstk.Label('VPB', (7.57,2.72), layer=64, texttype=5))
scs130hd_mpr2ea_8.add(gdstk.Label('VPB', (0.25,2.72), layer=64, texttype=5))
scs130hd_mpr2ea_8.add(gdstk.Label('VPB', (2.69,2.72), layer=64, texttype=5))
scs130hd_mpr2ea_8.add(gdstk.Label('VPB', (5.13,2.72), layer=64, texttype=5))
scs130hd_mpr2ea_8.add(gdstk.Label('VPB', (7.57,2.72), layer=64, texttype=5))
scs130hd_mpr2ea_8.add(gdstk.Label('VNB', (0.25,0), layer=64, texttype=59))
scs130hd_mpr2ea_8.add(gdstk.Label('VNB', (2.69,0), layer=64, texttype=59))
scs130hd_mpr2ea_8.add(gdstk.Label('VNB', (5.13,0), layer=64, texttype=59))
scs130hd_mpr2ea_8.add(gdstk.Label('VNB', (7.57,0), layer=64, texttype=59))
scs130hd_mpr2ea_8.add(gdstk.Label('VNB', (0.25,0), layer=64, texttype=59))
scs130hd_mpr2ea_8.add(gdstk.Label('VNB', (2.69,0), layer=64, texttype=59))
scs130hd_mpr2ea_8.add(gdstk.Label('VNB', (5.13,0), layer=64, texttype=59))
scs130hd_mpr2ea_8.add(gdstk.Label('VNB', (7.57,0), layer=64, texttype=59))
scs130hd_mpr2ea_8.add(gdstk.Label('vpwr', (0.24,2.72), layer=68, texttype=5))
scs130hd_mpr2ea_8.add(gdstk.Label('vgnd', (0.24,0), layer=68, texttype=5))
scs130hd_mpr2ea_8.add(gdstk.Label('vpwr', (0.24,2.72), layer=68, texttype=5))
scs130hd_mpr2ea_8.add(gdstk.Label('vgnd', (0.24,0), layer=68, texttype=5))
scs130hd_mpr2ea_8.add(gdstk.Label('B0', (9.055,1.84), layer=70, texttype=5))
scs130hd_mpr2ea_8.add(gdstk.Label('A1', (4.535,0.88), layer=70, texttype=5))
scs130hd_mpr2ea_8.add(gdstk.Label('R2', (0.415,1.44), layer=70, texttype=5))
scs130hd_mpr2ea_8.add(gdstk.Label('A0', (8.575,0.715), layer=70, texttype=5))
scs130hd_mpr2ea_8.add(gdstk.Label('R0', (6.975,1.44), layer=70, texttype=5))
scs130hd_mpr2ea_8.add(gdstk.Label('R3', (2.855,1.28), layer=70, texttype=5))
scs130hd_mpr2ea_8.add(gdstk.Label('B1', (5.415,0.88), layer=70, texttype=5))
scs130hd_mpr2ea_8.add(gdstk.Label('R1', (1.855,0.72), layer=70, texttype=5))
scs130hd_mpr2ea_8.add(gdstk.Label('B0', (9.055,1.84), layer=70, texttype=5))
scs130hd_mpr2ea_8.add(gdstk.Label('A1', (4.535,0.88), layer=70, texttype=5))
scs130hd_mpr2ea_8.add(gdstk.Label('R2', (0.415,1.44), layer=70, texttype=5))
scs130hd_mpr2ea_8.add(gdstk.Label('A0', (8.575,0.715), layer=70, texttype=5))
scs130hd_mpr2ea_8.add(gdstk.Label('R0', (6.975,1.44), layer=70, texttype=5))
scs130hd_mpr2ea_8.add(gdstk.Label('R3', (2.855,1.28), layer=70, texttype=5))
scs130hd_mpr2ea_8.add(gdstk.Label('B1', (5.415,0.88), layer=70, texttype=5))
scs130hd_mpr2ea_8.add(gdstk.Label('R1', (1.855,0.72), layer=70, texttype=5))

lib.write_gds('scs130hd_mpr2ea_8.gds')
